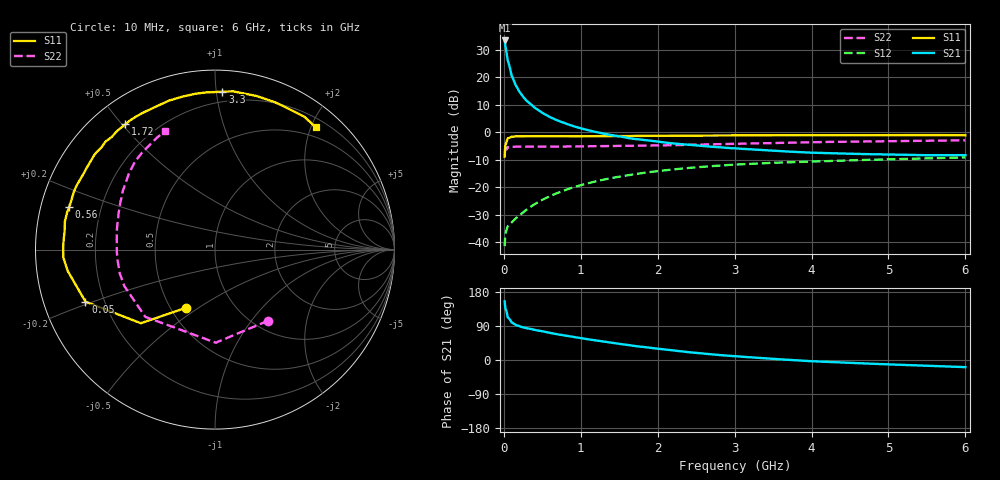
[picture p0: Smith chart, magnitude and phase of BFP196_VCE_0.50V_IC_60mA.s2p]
! Infineon Technologies  Discrete & RF Semiconductors
! BFP196
! VCE = 0.50V,  IC =  60mA
! Common Emitter S-Parameters:  Jan 2016
# GHz  S  MA  R  50
!  f  S11  S21  S12  S22
! GHz  MAG  ANG  MAG  ANG  MAG  ANG  MAG  ANG
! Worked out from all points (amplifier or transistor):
!   210 points, 10 MHz to 6 GHz, reference 50 ohm
!   highest |S21| = 33.5 dB at 10 MHz (marker M1)
!   |S21| within 3 dB of that: start of sweep to 26.79 MHz
!   unconditionally stable (mu >= 1): 218.3 MHz to end of sweep
!   at 185 MHz: K = 0.92, MSG = 23.2 dB, |S12| = -30.7 dB
!   at 1.52 GHz: K = 1.22, MAG = 4.5 dB, |S12| = -16.1 dB
!   at 6 GHz: K = 1.09, MAG = -1.4 dB, |S12| = -9.2 dB
!   S11 on the Smith chart (normalised r, x): 10 MHz: 0.60, -0.45; 50 MHz: 0.13, -0.19; 560 MHz: 0.08, +0.14; 1.72 GHz: 0.10, +0.51; 3.3 GHz: 0.13, +1.04; 6 GHz: 0.33, +2.08
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0.01  0.361 -116.3  47.19 155.0  0.0084 61.5  0.4942 -53.4
0.02  0.5822 -135.2  37.66 136.7  0.0141 49.9  0.5188 -89.5
0.05  0.7779 -158.1  20.55 112.3  0.0193 36.1  0.5395 -136.0
0.1  0.8295 -171.8  10.96 99.0  0.0225 38.3  0.5445 -158.1
0.15  0.8463 -177.1  7.395 93.0  0.0266 43.9  0.5472 -166.1
0.2  0.8462 179.0  5.571 88.8  0.0304 48.7  0.5455 -170.4
0.24  0.8452 176.7  4.662 86.7  0.0337 52.3  0.5459 -172.9
0.26  0.8448 175.6  4.29 85.6  0.0355 53.5  0.546 -173.9
0.3  0.8437 173.7  3.706 83.7  0.0395 55.1  0.5455 -175.3
0.4  0.8509 169.3  2.805 79.3  0.0489 58.8  0.5474 -178.3
0.5  0.8495 166.0  2.262 75.6  0.0587 60.3  0.5473 179.4
0.56  0.8467 163.6  2.039 73.3  0.0646 60.9  0.5473 178.3
0.72  0.8494 157.5  1.597 66.9  0.0806 60.8  0.5486 175.7
1.02  0.8478 147.4  1.161 57.2  0.1106 58.2  0.5538 171.4
1.3  0.8511 138.1  0.943 48.5  0.1375 54.2  0.5586 167.7
1.72  0.858 125.6  0.751 36.6  0.1739 47.5  0.567 162.2
2.02  0.8615 117.7  0.669 29.4  0.1975 42.3  0.5763 158.2
3.1  0.8773 91.2  0.498 8.5  0.2612 24.8  0.6201 143.6
3.3  0.8804 87.3  0.478 5.8  0.2693 21.8  0.6293 141.1
4.1  0.8855 73.4  0.421 -4.0  0.2967 11.3  0.664 131.5
5.1  0.8864 60.4  0.391 -12.3  0.3246 0.1  0.6893 121.4
6  0.8835 50.5  0.383 -18.8  0.3484 -9.8  0.7149 112.9
